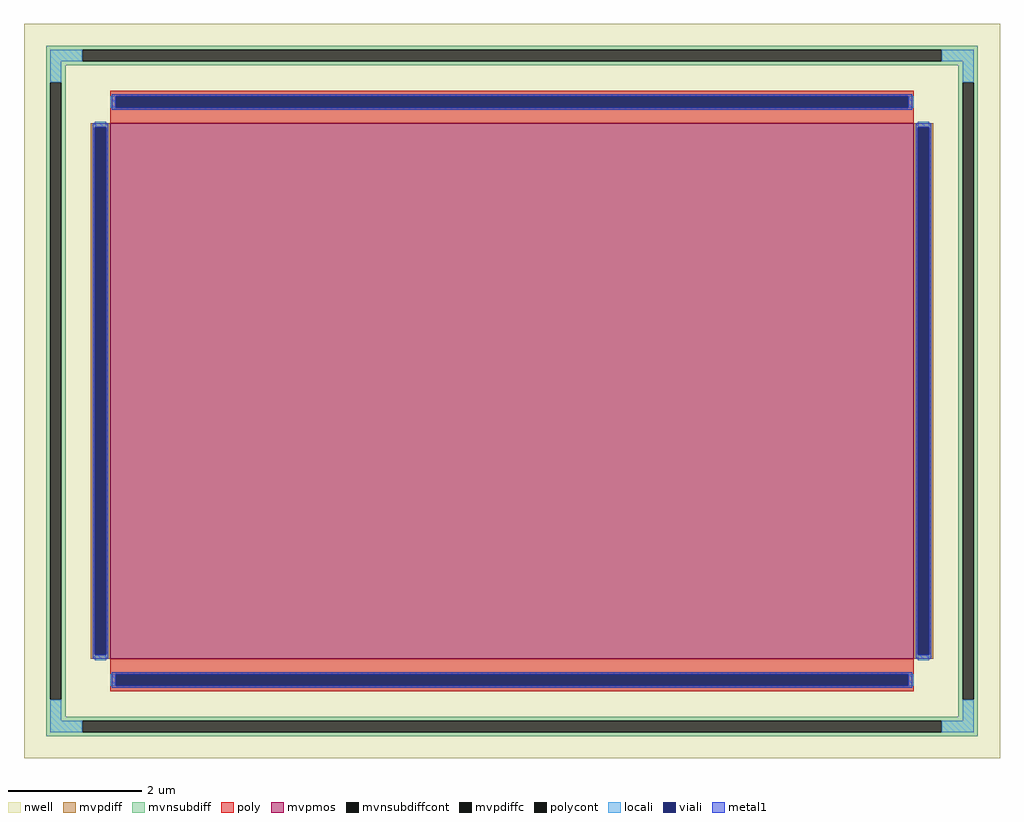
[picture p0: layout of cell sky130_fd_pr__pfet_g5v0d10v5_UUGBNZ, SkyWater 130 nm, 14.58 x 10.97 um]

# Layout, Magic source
magic
tech sky130A
magscale 1 2
<< nwell >>
rect -1458 -1097 1458 1097
<< mvpmos >>
rect -1200 -800 1200 800
<< mvpdiff >>
rect -1258 788 -1200 800
rect -1258 -788 -1246 788
rect -1212 -788 -1200 788
rect -1258 -800 -1200 -788
rect 1200 788 1258 800
rect 1200 -788 1212 788
rect 1246 -788 1258 788
rect 1200 -800 1258 -788
<< mvpdiffc >>
rect -1246 -788 -1212 788
rect 1212 -788 1246 788
<< mvnsubdiff >>
rect -1392 1019 1392 1031
rect -1392 985 -1284 1019
rect 1284 985 1392 1019
rect -1392 973 1392 985
rect -1392 923 -1334 973
rect -1392 -923 -1380 923
rect -1346 -923 -1334 923
rect 1334 923 1392 973
rect -1392 -973 -1334 -923
rect 1334 -923 1346 923
rect 1380 -923 1392 923
rect 1334 -973 1392 -923
rect -1392 -985 1392 -973
rect -1392 -1019 -1284 -985
rect 1284 -1019 1392 -985
rect -1392 -1031 1392 -1019
<< mvnsubdiffcont >>
rect -1284 985 1284 1019
rect -1380 -923 -1346 923
rect 1346 -923 1380 923
rect -1284 -1019 1284 -985
<< poly >>
rect -1200 881 1200 897
rect -1200 847 -1184 881
rect 1184 847 1200 881
rect -1200 800 1200 847
rect -1200 -847 1200 -800
rect -1200 -881 -1184 -847
rect 1184 -881 1200 -847
rect -1200 -897 1200 -881
<< polycont >>
rect -1184 847 1184 881
rect -1184 -881 1184 -847
<< locali >>
rect -1380 985 -1284 1019
rect 1284 985 1380 1019
rect -1380 923 -1346 985
rect 1346 923 1380 985
rect -1200 847 -1184 881
rect 1184 847 1200 881
rect -1246 788 -1212 804
rect -1246 -804 -1212 -788
rect 1212 788 1246 804
rect 1212 -804 1246 -788
rect -1200 -881 -1184 -847
rect 1184 -881 1200 -847
rect -1380 -985 -1346 -923
rect 1346 -985 1380 -923
rect -1380 -1019 -1284 -985
rect 1284 -1019 1380 -985
<< viali >>
rect -1184 847 1184 881
rect -1246 -788 -1212 788
rect 1212 -788 1246 788
rect -1184 -881 1184 -847
<< metal1 >>
rect -1196 881 1196 887
rect -1196 847 -1184 881
rect 1184 847 1196 881
rect -1196 841 1196 847
rect -1252 788 -1206 800
rect -1252 -788 -1246 788
rect -1212 -788 -1206 788
rect -1252 -800 -1206 -788
rect 1206 788 1252 800
rect 1206 -788 1212 788
rect 1246 -788 1252 788
rect 1206 -800 1252 -788
rect -1196 -847 1196 -841
rect -1196 -881 -1184 -847
rect 1184 -881 1196 -847
rect -1196 -887 1196 -881
<< properties >>
string FIXED_BBOX -1363 -1002 1363 1002
string gencell sky130_fd_pr__pfet_g5v0d10v5
string library sky130
string parameters w 8.0 l 12.0 m 1 nf 1 diffcov 100 polycov 100 guard 1 glc 1 grc 1 gtc 1 gbc 1 tbcov 100 rlcov 100 topc 1 botc 1 poverlap 0 doverlap 1 lmin 0.50 wmin 0.42 compatible {sky130_fd_pr__pfet_01v8  sky130_fd_pr__pfet_01v8_lvt sky130_fd_pr__pfet_01v8_hvt  sky130_fd_pr__pfet_g5v0d10v5} full_metal 1 viasrc 100 viadrn 100 viagate 100 viagb 0 viagr 0 viagl 0 viagt 0
<< end >>
